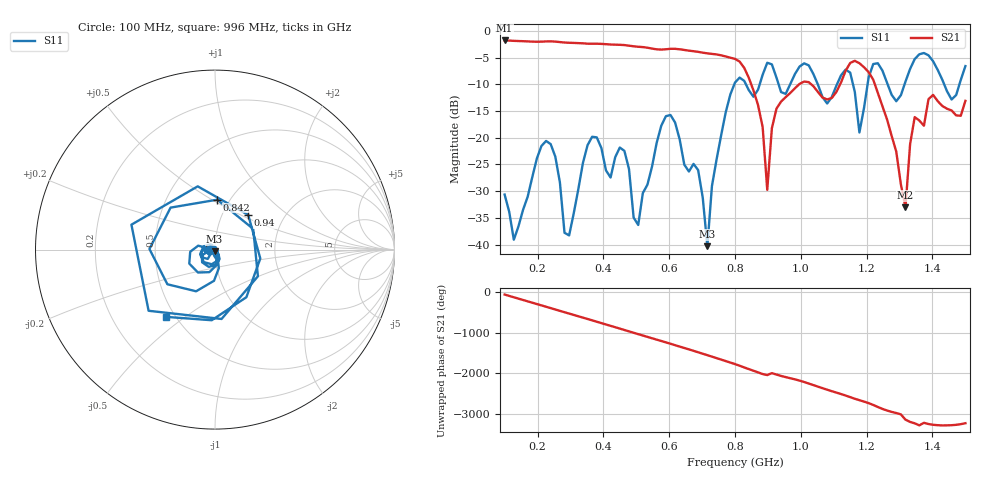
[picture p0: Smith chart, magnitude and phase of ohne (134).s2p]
! NanoVNA-App
! Date: 2025-09-25 14:21:50
! Start: 100MHz Stop: 1,5GHz Points: 101
! S-Parameter data: F S11 S21 S12 S22
# Hz S RI R 50
!  Frequency  S11_Real  S11_Imag  S21_Real  S21_Imag  S12_Real  S12_Imag  S22_Real  S22_Imag
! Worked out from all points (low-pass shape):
!   101 points, 100 MHz to 1.5 GHz, reference 50 ohm
!   highest |S21| = -1.79 dB at 100 MHz (marker M1); lowest = -33.0 dB at 1.318 GHz (marker M2)
!   |S21| within 3 dB of the highest: start of sweep to 772 MHz
!   lowest |S11| = -40.3 dB at 716 MHz (marker M3), VSWR 1.02, Z = 49.7 - j0.924 ohm
!   |S11| at or under -10 dB: start of sweep to 797.9 MHz; 833.1 MHz to 875.1 MHz (41.9 MHz wide, 4.91 % of centre); 1.052 GHz to 1.11 GHz (58.42 MHz wide, 5.41 % of centre) (the widest 3 of 7)
!   S12 and S22 are empty: the file has one direction only
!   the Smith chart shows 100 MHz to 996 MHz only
!   S11 on the Smith chart (normalised r, x): 100 MHz: 0.94, -0.01; 842 MHz: 0.88, +0.53; 940 MHz: 1.32, +0.55; 996 MHz: 0.45, -0.43
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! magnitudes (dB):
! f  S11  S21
! 100 MHz  -30.6  -1.8
! 128 MHz  -39.1  -1.9
! 226 MHz  -20.6  -2.0
! 296 MHz  -38.3  -2.2
! 338 MHz  -24.7  -2.3
! 464 MHz  -22.5  -2.7
! 506 MHz  -36.3  -3.0
! 576 MHz  -17.8  -3.5
! 688 MHz  -26.1  -3.9
! 716 MHz  -40.3  -4.2
! 800 MHz  -9.7  -5.2
! 842 MHz  -11.1  -8.8
! 898 MHz  -6.0  -29.8
! 940 MHz  -11.5  -13.2
! 996 MHz  -6.7  -9.9
! 1.038 GHz  -8.1  -10.3
! 1.178 GHz  -19.0  -6.1
! 1.22 GHz  -6.2  -9.1
! 1.276 GHz  -12.0  -19.7
! 1.318 GHz  -9.5  -33.0
! 1.346 GHz  -5.3  -16.1
! 1.5 GHz  -6.6  -13.1
